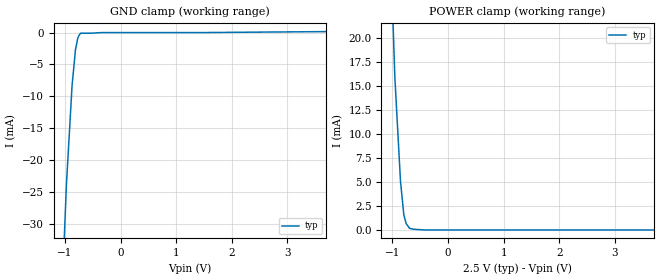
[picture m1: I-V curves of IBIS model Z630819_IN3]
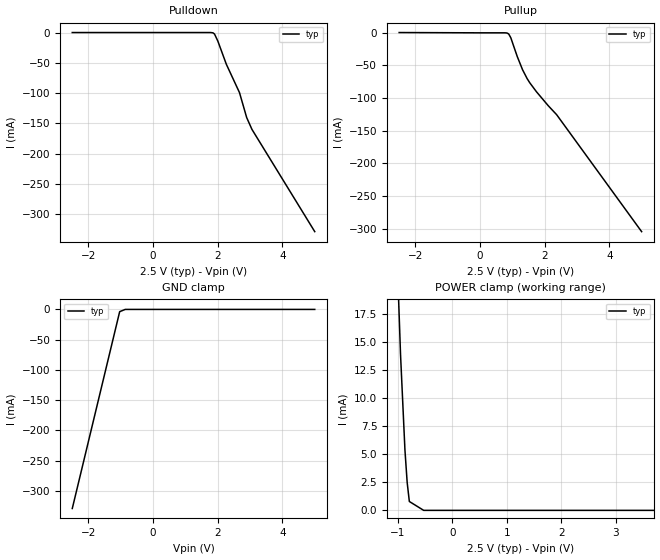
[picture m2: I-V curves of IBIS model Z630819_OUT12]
[IBIS Ver] 3.1
[File Name] nb100lvep224fa_25.ibs
[File Rev] 1.0
[Source] Derived from mc100lvep222fa_33.ibs
|   measured and created by ICX Technology
[Date] 1/27/2004
[Copyright]
| (C) COPYRIGHT 1993-2000
| MENTOR GRAPHICS CORPORATION
| ICX STANDARD LIBRARY, ICX PROJECT MODELING,
| ICX CUSTOM MODELING, ICX VENDOR MODEL
| ALL RIGHTS RESERVED.
| THE FOLLOWING ARE TRADEMARKS OR SERVICE MARKS OF
| MENTOR GRAPHICS CORPORATION:ICX (R), ICX STANDARD
| LIBRARY(R), ICX PROJECT MODELING(R), ICX CUSTOM
| MODELING(R), qualityIBIS(TM), MODELVIEWER(TM),
| AND MODELEDITOR(TM)
| ALL COPIES OF SOFTWARE, INCLUDING BUT NOT LIMITED TO
| ANY MODIFICATIONS, ENHANCEMENTS OR DERIVATIVE WORKS,
| MUST CONTAIN ALL MENTOR GRAPHICS CORPORATION'S
| NOTICES AND LEGENDS, INCLUDING THOSE EMBEDDED IN
| SOFTWARE AND THOSE AFFIXED TO SOFTWARE MEDIUM
| AND CONTAINER, AS RECEIVED FROM MENTOR GRAPHICS
| CORPORATION.
|  ZAP Model Builder 2.8
[Component] NB100LVEP222FA_25
[Manufacturer] ON
[Package]
| variable   typ   min   max
R_pkg  .091ohms NA NA
L_pkg  .367nH NA NA
C_pkg  .0523pF NA NA
[Pin] signal_name  model_name  R_pin  L_pin C_pin
1 VCCO POWER
2 _Q0 Z630819_OUT12
3 Q0 Z630819_OUT12
4 VCC POWER
5 CLK0 Z630819_IN3
6 _CLK0 Z630819_IN3
7 CLK_SEL Z630819_IN3
8 CLK1 Z630819_IN3
9 _CLK1 Z630819_IN3
10 VEE GND
11 _OE Z630819_IN3
12 _Q23 Z630819_OUT12
13 Q23 Z630819_OUT12
14 _Q22 Z630819_OUT12
15 Q22 Z630819_OUT12
16 VCCO POWER
17 VCCO POWER
18 _Q21 Z630819_OUT12
19 Q21 Z630819_OUT12
20 _Q20 Z630819_OUT12
21 Q20 Z630819_OUT12
22 _Q19 Z630819_OUT12
23 Q19 Z630819_OUT12
24 _Q18 Z630819_OUT12
25 Q18 Z630819_OUT12
26 _Q17 Z630819_OUT12
27 Q17 Z630819_OUT12
28 _Q16 Z630819_OUT12
29 Q16 Z630819_OUT12
30 _Q15 Z630819_OUT12
31 Q15 Z630819_OUT12
32 VCCO POWER
33 VEE GND
34 _Q14 Z630819_OUT12
35 Q14 Z630819_OUT12
36 _Q13 Z630819_OUT12
37 Q13 Z630819_OUT12
38 _Q12 Z630819_OUT12
39 Q12 Z630819_OUT12
40 _Q11 Z630819_OUT12
41 Q11 Z630819_OUT12
42 _Q10 Z630819_OUT12
43 Q10 Z630819_OUT12
44 _Q9 Z630819_OUT12
45 Q9 Z630819_OUT12
46 _Q8 Z630819_OUT12
47 Q8 Z630819_OUT12
48 VEE GND
49 VCCO POWER
50 _Q7 Z630819_OUT12
51 Q7 Z630819_OUT12
52 _Q6 Z630819_OUT12
53 Q6 Z630819_OUT12
54 _Q5 Z630819_OUT12
55 Q5 Z630819_OUT12
56 _Q4 Z630819_OUT12
57 Q4 Z630819_OUT12
58 _Q3 Z630819_OUT12
59 Q3 Z630819_OUT12
60 _Q2 Z630819_OUT12
61 Q2 Z630819_OUT12
62 _Q1 Z630819_OUT12
63 Q1 Z630819_OUT12
64 VCC POWER
[Diff Pin] inv_pin vdiff tdelay_typ tdelay_min tdelay_max
5 6 800mv NA NA NA
8 9 800mv NA NA NA
3 2 NA 650p 550p 750p
13 12 NA 650p 550p 750p
15 14 NA 650p 550p 750p
19 18 NA 650p 550p 750p
21 20 NA 650p 550p 750p
23 22 NA 650p 550p 750p
25 24 NA 650p 550p 750p
27 26 NA 650p 550p 750p
29 28 NA 650p 550p 750p
31 30 NA 650p 550p 750p
35 34 NA 650p 550p 750p
37 36 NA 650p 550p 750p
39 38 NA 650p 550p 750p
41 40 NA 650p 550p 750p
43 42 NA 650p 550p 750p
45 44 NA 650p 550p 750p
47 46 NA 650p 550p 750p
51 50 NA 650p 550p 750p
53 52 NA 650p 550p 750p
55 54 NA 650p 550p 750p
57 56 NA 650p 550p 750p
59 58 NA 650p 550p 750p
61 60 NA 650p 550p 750p
63 62 NA 650p 550p 750p
| Models and submodels in the file (2): Z630819_IN3 (Input_ECL), Z630819_OUT12 (Output_ECL)
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| Model Application Version 1.89 2/18/99.
[Model] Z630819_IN3
Model_type Input_ECL
Vinl = 0.900V
Vinh = 1.335V
C_comp 1.000pF NA NA
| variable typ   min   max
[Voltage Range] 2.500V NA NA
[GND Clamp Reference] 0.000V NA NA
[POWER Clamp Reference] 2.500V NA NA
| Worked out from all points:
|   GND clamp passes 1 mA (typ) near -0.77 V on its own axis
|   POWER clamp passes 1 mA (typ) near -0.77 V on its own axis
[GND Clamp]
-2.5V     -525.8mA   NA         NA
-1.095V   -49.9mA    NA         NA
-973mV    -23.8mA    NA         NA
-872mV    -8.3mA     NA         NA
-811mV    -2.7mA     NA         NA
-770mV    -900uA     NA         NA
-750mV    -500uA     NA         NA
-719.8mV  -100uA     NA         NA
-532.3mV  -100uA     NA         NA
-344.8mV  0A         NA         NA
1.449V    0A         NA         NA
5V        243.2uA    NA         NA
[POWER Clamp]
-2.5V     286.1mA    NA         NA
-957mV    15.97mA    NA         NA
-855mV    5.072mA    NA         NA
-795mV    1.575mA    NA         NA
-754mV    677uA      NA         NA
-693mV    179.9uA    NA         NA
-632mV    82.77uA    NA         NA
-421.3mV  0A         NA         NA
5V        0A         NA         NA
| Model Application Version 1.89 2/18/99.
[Model] Z630819_OUT12
Model_type Output_ECL
Vref=.500V
Rref=50.00ohms
Cref=0.000F
Vmeas=1.080V
C_comp 1.000pF NA NA
| variable typ   min   max
[Voltage Range] 2.500V NA NA
[POWER Clamp Reference] 2.500V NA NA
[Pullup Reference] 2.500V NA NA
[Pulldown Reference] 2.500V NA NA
[GND Clamp Reference] 0.000V NA NA
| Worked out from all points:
|   GND clamp passes 1 mA (typ) near -0.91 V on its own axis
|   POWER clamp passes 1 mA (typ) near -0.79 V on its own axis
[GND Clamp]
-2.5V     -329.1mA   NA         NA
-1.034V   -3.713mA   NA         NA
-861.7mV  0A         NA         NA
5V        0A         NA         NA
[Pulldown]
-2.5V     0A         NA         NA
1.78V     0A         NA         NA
1.841V    -400uA     NA         NA
1.861V    -800uA     NA         NA
1.901V    -2.6mA     NA         NA
2.003V    -14.2mA    NA         NA
2.266V    -52.5mA    NA         NA
2.672V    -99.2mA    NA         NA
2.895V    -140.5mA   NA         NA
3.057V    -159.9mA   NA         NA
3.158V    -168.7mA   NA         NA
5V        -328.8mA   NA         NA
[Pullup]
-2.5V     450.5uA    NA         NA
771mV     0A         NA         NA
893mV     -2.1mA     NA         NA
954mV     -7.6mA     NA         NA
1.156V    -36.7mA    NA         NA
1.318V    -56.6mA    NA         NA
1.46V     -70.2mA    NA         NA
1.541V    -76.5mA    NA         NA
1.744V    -90mA      NA         NA
2.373V    -125.4mA   NA         NA
5V        -304.3mA   NA         NA
[POWER Clamp]
-2.5V     399.1mA    NA         NA
-1.073V   30.65mA    NA         NA
-952mV    13.87mA    NA         NA
-871mV    5.378mA    NA         NA
-830mV    2.484mA    NA         NA
-790mV    788.9uA    NA         NA
-526.7mV  0A         NA         NA
5V        0A         NA         NA
[Ramp]
| variable typ min max
dV/dt_r 479.4m/193.4p NA NA
dV/dt_f 479.4m/159.7p NA NA
R_load = 50.00Ohms
